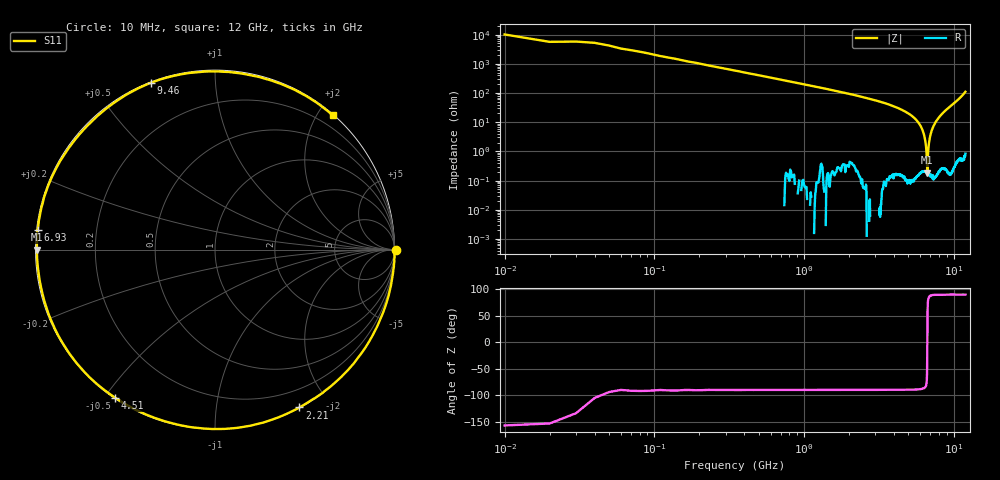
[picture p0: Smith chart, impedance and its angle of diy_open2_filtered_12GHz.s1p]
#  HZ  S  DB  R  50.00
! Rohde & Schwarz Vector Network Analyzer
! Rohde-Schwarz,ZNA26-4Port,1332450024101475,2.90
! Created: UTC 5/21/2025, 7:06:31 PM
! freq[Hz]  db:S11  ang:S11
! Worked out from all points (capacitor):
!   1200 points, 10 MHz to 12 GHz, reference 50 ohm
!   read as one part to ground: C = 778 fF near 70 MHz
!   lowest |Z| = 187 mohm at 6.68 GHz (marker M1)
!   series resonance near 6.679 GHz, so ESL is about 730 pH
!   S11 on the Smith chart (normalised r, x): 10 MHz: open; 2.21 GHz: 0.01, -1.67; 4.51 GHz: 0.00, -0.53; 6.93 GHz: 0.00, +0.06; 9.46 GHz: 0.00, +0.69; 12 GHz: 0.02, +2.21
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1e7  0.08 -0.2
4.2e8  0.00 -11.8
7.4e8  -0.00 -20.8
1.11e9  -0.00 -31.2
1.51e9  -0.01 -42.5
2.21e9  -0.02 -61.9
2.62e9  -0.00 -73.0
3.01e9  0.01 -83.6
3.34e9  -0.01 -92.4
3.73e9  -0.03 -102.9
4.1e9  -0.04 -113.0
4.51e9  -0.04 -124.0
4.89e9  -0.03 -133.9
5.28e9  -0.03 -143.9
5.64e9  -0.04 -153.2
6.01e9  -0.06 -162.7
6.68e9  -0.06 180.0
6.93e9  -0.05 173.6
7.51e9  -0.04 159.2
7.88e9  -0.06 150.0
8.26e9  -0.08 140.6
9.01e9  -0.06 121.9
9.46e9  -0.04 111.1
9.98e9  -0.05 98.6
1.051e10  -0.06 85.6
1.089e10  -0.07 76.1
1.124e10  -0.05 67.5
1.2e10  -0.05 48.8
